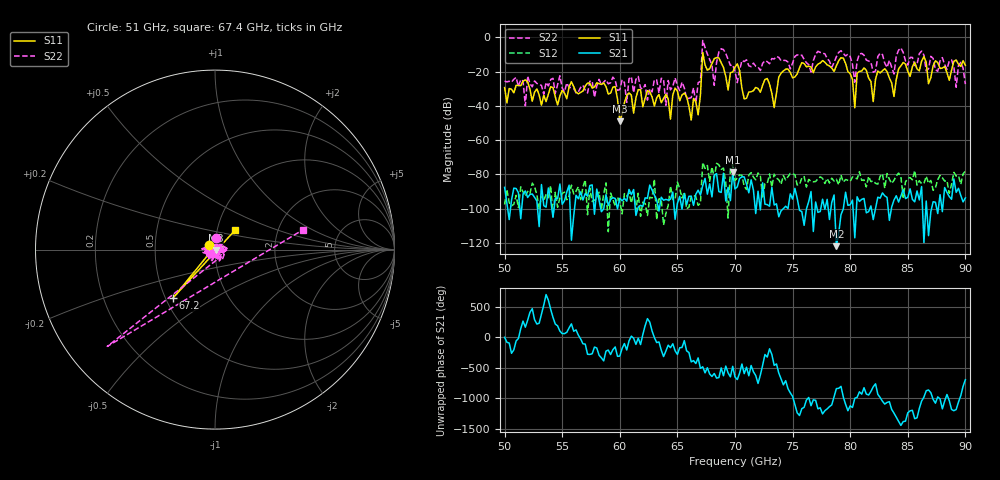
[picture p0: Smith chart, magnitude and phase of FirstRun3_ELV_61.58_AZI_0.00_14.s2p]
! 11/24/2026 3:33:36 PM
! C:\ANRITSUVNA\TEMP\TEMP.S2P
! CHANNEL.1
! TR.MEASUREMENT
! RAW.DATA
# HZ S RI R 50.0
! FREQ.HZ  S11RE  S11IM  S21RE  S21IM  S12RE  S12IM  S22RE  S22IM
!; PortSelection: Port_12
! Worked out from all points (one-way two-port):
!   201 points, 50 GHz to 90 GHz, reference 50 ohm
!   highest |S21| = -78.78 dB at 69.8 GHz (marker M1); lowest = -121.9 dB at 78.8 GHz (marker M2)
!   lowest |S11| = -49.0 dB at 60 GHz (marker M3), VSWR 1.01, Z = 50.3 - j0.156 ohm
!   |S11| at or under -10 dB: start of sweep to 67.19 GHz; 67.23 GHz to end of sweep
!   |S22| runs from -40.0 to -1.9 dB; largest |S21 - S12| = 0.00029
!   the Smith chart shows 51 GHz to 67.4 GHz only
!   S11 on the Smith chart (normalised r, x): 51 GHz: 0.94, +0.05; 67.2 GHz: 0.54, -0.34; 67.4 GHz: 1.22, +0.27
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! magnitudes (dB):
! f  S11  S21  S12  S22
! 50 GHz  -29.4  -87.6  -97.6  -25.6
! 51 GHz  -28.0  -88.2  -92.2  -23.4
! 51.8 GHz  -24.8  -89.7  -92.8  -40.0
! 56.8 GHz  -31.4  -94.9  -87.4  -28.1
! 59.6 GHz  -28.8  -94.0  -98.7  -25.0
! 60 GHz  -49.0  -93.9  -96.0  -30.5
! 63.4 GHz  -33.4  -101.4  -94.2  -32.6
! 66.8 GHz  -45.3  -89.2  -98.0  -26.5
! 67.2 GHz  -8.9  -86.5  -73.0  -1.9
! 67.4 GHz  -16.1  -82.3  -76.5  -5.9
! 68.2 GHz  -12.5  -80.4  -82.1  -28.1
! 68.8 GHz  -14.8  -90.5  -77.0  -6.7
! 69.8 GHz  -20.3  -78.8  -74.1  -16.1
! 70 GHz  -17.5  -88.5  -83.5  -19.9
! 73.4 GHz  -41.0  -97.8  -79.8  -12.6
! 74.2 GHz  -19.7  -100.0  -80.6  -13.5
! 76.8 GHz  -20.6  -113.3  -84.3  -13.6
! 78.8 GHz  -16.6  -121.9  -82.8  -11.3
! 80.4 GHz  -41.2  -117.0  -82.0  -26.2
! 80.6 GHz  -21.0  -93.1  -82.6  -14.0
! 83.4 GHz  -23.8  -106.8  -82.8  -13.5
! 90 GHz  -16.4  -93.7  -78.1  -27.3
